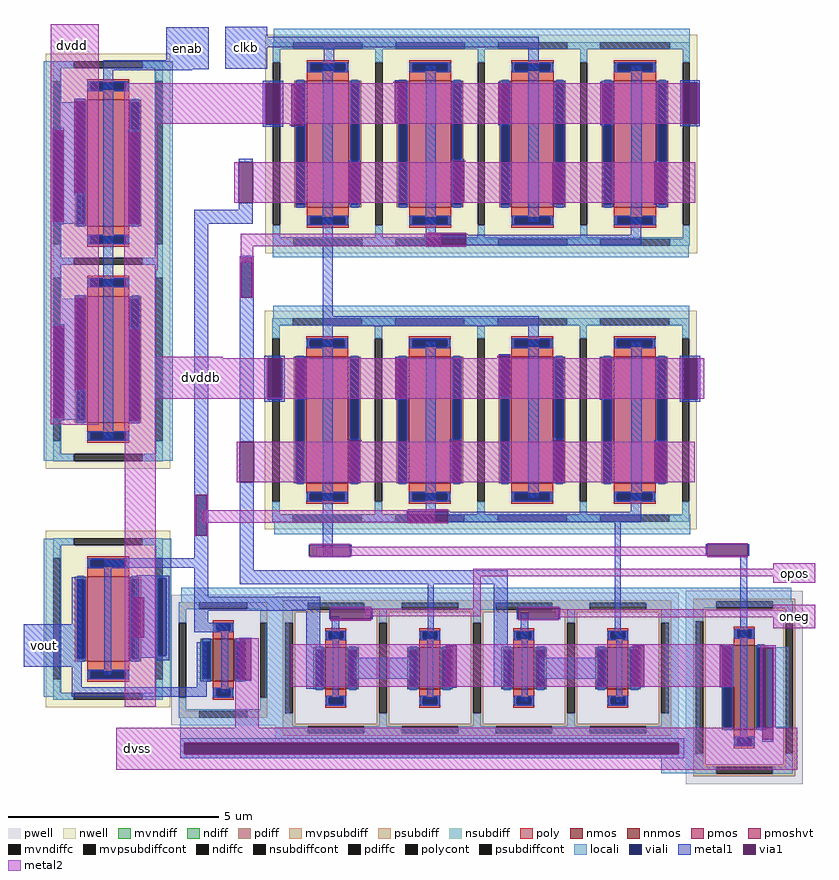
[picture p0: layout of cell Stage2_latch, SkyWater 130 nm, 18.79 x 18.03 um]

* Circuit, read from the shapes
.subckt Stage2_latch dvdd enab dvddb clkb vout oneg opos dvss
XM1 dvss n1 vout dvss sky130_fd_pr__nfet_01v8 w=1 l=0.5
XM2 n2 opos n1 dvss sky130_fd_pr__nfet_03v3_nvt w=1 l=0.5
XM3 n3 n4 n2 dvss sky130_fd_pr__nfet_03v3_nvt w=1 l=0.5
XM4 n5 oneg n4 dvss sky130_fd_pr__nfet_03v3_nvt w=1 l=0.5
XM5 n3 n1 n5 dvss sky130_fd_pr__nfet_03v3_nvt w=1 l=0.5
XM6 dvss clkb n3 dvss sky130_fd_pr__nfet_03v3_nvt w=2 l=0.5
XM7 dvddb n1 vout dvddb sky130_fd_pr__pfet_01v8 w=2 l=1
XM8 dvddb enab dvdd dvdd sky130_fd_pr__pfet_01v8_hvt w=3 l=1 m=2
XM9 n4 clkb dvddb dvddb sky130_fd_pr__pfet_01v8_hvt w=3 l=1 m=2
XM10 n1 clkb dvddb dvddb sky130_fd_pr__pfet_01v8_hvt w=3 l=1 m=2
XM11 n4 n1 dvddb dvddb sky130_fd_pr__pfet_01v8_hvt w=3 l=1 m=2
XM12 n1 n4 dvddb dvddb sky130_fd_pr__pfet_01v8_hvt w=3 l=1 m=2
.ends

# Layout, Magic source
magic
tech sky130A
magscale 1 2
<< locali >>
rect 1487 621 3461 716
rect 395 367 479 563
rect 395 226 575 367
rect 395 -189 444 226
rect 483 -189 575 226
rect 395 -208 575 -189
rect 395 -564 479 -208
rect 395 -705 571 -564
rect 395 -1120 448 -705
rect 487 -1120 571 -705
rect 395 -1139 571 -1120
rect 395 -1334 479 -1139
rect 923 -1334 1007 563
rect 1483 -368 3457 -273
rect 1485 -693 3459 -598
rect 1489 -1683 3463 -1588
rect 395 -2454 479 -1704
rect 923 -1890 1001 -1704
rect 830 -2271 847 -1897
rect 923 -2258 940 -1890
rect 978 -2258 1001 -1890
rect 1048 -2024 3943 -1935
rect 923 -2454 1001 -2258
rect 1449 -2512 1558 -2024
rect 1044 -2602 1561 -2512
rect 3348 -2602 3506 -2024
rect 3796 -2598 3931 -2218
rect 1044 -2616 3506 -2602
rect 1044 -2676 3504 -2616
rect 1044 -2727 1063 -2676
rect 3409 -2727 3504 -2676
rect 1044 -2746 3504 -2727
rect 3326 -2816 3504 -2746
<< viali >>
rect 444 -189 483 226
rect 448 -1120 487 -705
rect 1446 264 1518 459
rect 3426 265 3498 460
rect 1455 -1041 1527 -846
rect 3426 -1041 3498 -846
rect 940 -2258 978 -1890
rect 1063 -2727 3409 -2676
<< metal1 >>
rect 978 568 1178 724
rect 677 524 1178 568
rect 1257 678 1457 727
rect 1257 629 2744 678
rect 1257 527 1457 629
rect 1724 542 1773 629
rect 677 519 1101 524
rect 438 226 490 236
rect 438 -189 444 226
rect 483 -189 490 226
rect 438 -199 490 -189
rect 441 -705 493 -696
rect 441 -1120 448 -705
rect 487 -1120 493 -705
rect 441 -1131 493 -1120
rect 677 -1228 726 519
rect 1719 518 1773 542
rect 1434 459 1531 469
rect 1434 264 1446 459
rect 1518 264 1531 459
rect 1434 251 1531 264
rect 1320 83 1387 99
rect 1320 -142 1387 -110
rect 1110 -209 1387 -142
rect 1110 -1796 1177 -209
rect 683 -1842 1177 -1796
rect 529 -2110 576 -1886
rect 300 -2310 576 -2110
rect 529 -2407 576 -2310
rect 683 -2348 717 -1842
rect 838 -1878 918 -1877
rect 838 -1890 991 -1878
rect 838 -2258 940 -1890
rect 978 -2258 991 -1890
rect 1110 -1979 1177 -1842
rect 1326 -1242 1393 -363
rect 1719 -647 1768 518
rect 2207 -261 2256 542
rect 2695 -200 2744 629
rect 3183 -131 3232 542
rect 3415 460 3509 472
rect 3415 265 3426 460
rect 3498 265 3509 460
rect 3415 253 3509 265
rect 3181 -200 3232 -131
rect 3181 -261 3230 -200
rect 2207 -310 3230 -261
rect 1719 -696 2744 -647
rect 1443 -846 1540 -836
rect 1443 -1041 1455 -846
rect 1527 -1041 1540 -846
rect 1443 -1054 1540 -1041
rect 1326 -1853 1393 -1435
rect 1719 -1790 1768 -696
rect 2207 -1576 2256 -768
rect 2695 -1510 2744 -696
rect 3183 -1484 3232 -768
rect 3414 -846 3511 -836
rect 3414 -1041 3426 -846
rect 3498 -1041 3511 -846
rect 3414 -1054 3511 -1041
rect 3181 -1510 3232 -1484
rect 3181 -1576 3230 -1510
rect 2117 -1624 3230 -1576
rect 2117 -1625 2641 -1624
rect 2714 -1625 3230 -1624
rect 1326 -1920 2597 -1853
rect 1110 -2046 1707 -1979
rect 1110 -2101 1177 -2046
rect 1110 -2148 1271 -2101
rect 838 -2269 991 -2258
rect 931 -2280 991 -2269
rect 1121 -2407 1168 -2194
rect 529 -2454 1168 -2407
rect 1237 -2431 1271 -2148
rect 1640 -2414 1707 -2046
rect 1763 -2154 1797 -2071
rect 2217 -2146 2247 -1920
rect 1767 -2158 1796 -2154
rect 1767 -2161 1802 -2158
rect 2215 -2159 2247 -2146
rect 1767 -2457 1796 -2161
rect 1866 -2368 2149 -2267
rect 2215 -2457 2244 -2159
rect 2530 -2406 2597 -1920
rect 2659 -2180 2695 -2055
rect 3105 -2146 3134 -1625
rect 3105 -2159 3140 -2146
rect 2667 -2185 2695 -2180
rect 2207 -2463 2244 -2457
rect 2663 -2464 2692 -2185
rect 2747 -2368 3030 -2267
rect 2660 -2474 2693 -2464
rect 3111 -2478 3140 -2159
rect 1044 -2672 3434 -2650
rect 3700 -2671 3734 -1781
rect 1044 -2727 1063 -2672
rect 3409 -2727 3434 -2672
rect 1044 -2746 3434 -2727
<< via1 >>
rect 1449 266 1517 458
rect 1320 -110 1387 83
rect 3428 265 3496 457
rect 1458 -1035 1526 -847
rect 1326 -1435 1393 -1242
rect 3429 -1039 3497 -847
rect 1063 -2676 3409 -2672
rect 1063 -2727 3409 -2676
<< metal2 >>
rect 428 -1161 657 739
rect 489 -1162 657 -1161
rect 778 266 1449 458
rect 1517 457 3490 458
rect 1517 266 3428 457
rect 778 265 3428 266
rect 3496 265 3504 457
rect 778 -430 937 265
rect 1300 -110 1320 83
rect 1387 -110 3488 83
rect 1331 -315 2282 -256
rect 1331 -391 1390 -315
rect 778 -839 928 -430
rect 778 -847 1244 -839
rect 778 -1035 1458 -847
rect 1526 -1035 3429 -847
rect 778 -1039 3429 -1035
rect 3497 -1039 3529 -847
rect 778 -1040 3529 -1039
rect 778 -1179 928 -1040
rect 780 -2500 928 -1179
rect 1312 -1435 1326 -1242
rect 1393 -1435 3485 -1242
rect 1149 -1628 2252 -1569
rect 1686 -1785 3548 -1742
rect 3857 -1846 4057 -1819
rect 2433 -1881 4057 -1846
rect 2433 -2036 2468 -1881
rect 3857 -1913 4057 -1881
rect 1919 -2071 2468 -2036
rect 2822 -2039 3578 -2038
rect 3857 -2039 4057 -2016
rect 2822 -2075 4057 -2039
rect 3541 -2076 4057 -2075
rect 3857 -2128 4057 -2076
rect 1305 -2600 1415 -2176
rect 1568 -2406 3671 -2203
rect 740 -2672 3970 -2600
rect 740 -2727 1063 -2672
rect 3409 -2727 3970 -2672
rect 740 -2800 3970 -2727
use pa_via  pa_via_0
transform 1 0 799 0 1 -4742
box -10 3586 63 4043
use pa_via  pa_via_1
transform 1 0 441 0 1 -4728
box -10 3586 63 4043
use pa_via  pa_via_2
transform 1 0 542 0 1 -4592
box -10 3586 63 4043
use pa_via  pa_via_3
transform 1 0 797 0 1 -3806
box -10 3586 63 4043
use pa_via  pa_via_4
transform 1 0 3805 0 1 -6252
box -10 3586 63 4043
use pa_via  pa_via_5
transform 1 0 540 0 1 -3659
box -10 3586 63 4043
use pa_via  pa_via_6
transform 1 0 438 0 1 -3796
box -10 3586 63 4043
use pa_via_short  pa_via_short_0
transform 1 0 -3624 0 1 -489
box 4944 -1889 5010 -1683
use pa_via_short  pa_via_short_1
transform 1 0 -4131 0 1 -291
box 4944 -1889 5010 -1683
use pa_via_short  pa_via_short_2
transform 1 0 -3106 0 1 1773
box 4944 -1889 5010 -1683
use pa_via_short  pa_via_short_3
transform 1 0 -3381 0 1 2140
box 4944 -1889 5010 -1683
use pa_via_short  pa_via_short_4
transform 1 0 -2890 0 1 2154
box 4944 -1889 5010 -1683
use pa_via_short  pa_via_short_5
transform 1 0 -2399 0 1 2148
box 4944 -1889 5010 -1683
use pa_via_short  pa_via_short_6
transform 1 0 -1914 0 1 2148
box 4944 -1889 5010 -1683
use pa_via_short  pa_via_short_7
transform 1 0 -2612 0 1 1781
box 4944 -1889 5010 -1683
use pa_via_short  pa_via_short_8
transform 1 0 -2142 0 1 1767
box 4944 -1889 5010 -1683
use pa_via_short  pa_via_short_9
transform 1 0 -2887 0 1 844
box 4944 -1889 5010 -1683
use pa_via_short  pa_via_short_10
transform 1 0 -1657 0 1 1770
box 4944 -1889 5010 -1683
use pa_via_short  pa_via_short_11
transform 1 0 -1657 0 1 448
box 4944 -1889 5010 -1683
use pa_via_short  pa_via_short_12
transform 1 0 -2139 0 1 454
box 4944 -1889 5010 -1683
use pa_via_short  pa_via_short_13
transform 1 0 -2627 0 1 451
box 4944 -1889 5010 -1683
use pa_via_short  pa_via_short_14
transform 1 0 -3106 0 1 454
box 4944 -1889 5010 -1683
use pa_via_short  pa_via_short_15
transform 1 0 -3360 0 1 846
box 4944 -1889 5010 -1683
use pa_via_short  pa_via_short_16
transform 1 0 -2396 0 1 855
box 4944 -1889 5010 -1683
use pa_via_short  pa_via_short_17
transform 1 0 -1916 0 1 844
box 4944 -1889 5010 -1683
use pa_via_short  pa_via_short_18
transform 1 0 -2648 0 1 -522
box 4944 -1889 5010 -1683
use pa_via_short  pa_via_short_19
transform 1 0 -1348 0 1 -520
box 4944 -1889 5010 -1683
use pa_via_short  pa_via_short_20
transform 1 0 -1759 0 1 -520
box 4944 -1889 5010 -1683
use pa_via_short  pa_via_short_22
transform 1 0 -3834 0 1 195
box 4944 -1889 5010 -1683
use pa_via_short  pa_via_short_24
transform 1 0 -3618 0 1 1322
box 4944 -1889 5010 -1683
use pa_via_short  pa_via_short_25
transform 0 1 4006 -1 0 3380
box 4944 -1889 5010 -1683
use pa_via_short  pa_via_short_26
transform 0 1 4091 -1 0 4693
box 4944 -1889 5010 -1683
use pa_via_short  pa_via_short_28
transform 0 1 3541 -1 0 3218
box 4944 -1889 5010 -1683
use pa_via_short  pa_via_short_29
transform 0 1 3639 -1 0 2918
box 4944 -1889 5010 -1683
use pa_via_short  pa_via_short_30
transform 0 1 4529 -1 0 2919
box 4944 -1889 5010 -1683
use pa_via_short  pa_via_short_32
transform 0 1 5426 -1 0 3220
box 4944 -1889 5010 -1683
use sky130_fd_pr__pfet_01v8_hvt_3HBZVM  sky130_fd_pr__pfet_01v8_hvt_3HBZVM_0 paramcells
transform 1 0 1741 0 1 -1140
box -296 -519 296 519
use sky130_fd_pr__pfet_01v8_hvt_3HBZVM  sky130_fd_pr__pfet_01v8_hvt_3HBZVM_1
transform 1 0 2227 0 1 -1140
box -296 -519 296 519
use sky130_fd_pr__pfet_01v8_hvt_3HBZVM  sky130_fd_pr__pfet_01v8_hvt_3HBZVM_2
transform 1 0 2713 0 1 -1140
box -296 -519 296 519
use sky130_fd_pr__pfet_01v8_hvt_3HBZVM  sky130_fd_pr__pfet_01v8_hvt_3HBZVM_3
transform 1 0 3199 0 1 -1140
box -296 -519 296 519
use sky130_fd_pr__pfet_01v8_hvt_3HBZVM  sky130_fd_pr__pfet_01v8_hvt_3HBZVM_4
transform 1 0 701 0 1 80
box -296 -519 296 519
use sky130_fd_pr__pfet_01v8_hvt_3HBZVM  sky130_fd_pr__pfet_01v8_hvt_3HBZVM_5
transform 1 0 701 0 1 -852
box -296 -519 296 519
use sky130_fd_pr__pfet_01v8_hvt_3HBZVM  XM1
transform 1 0 3201 0 1 170
box -296 -519 296 519
use sky130_fd_pr__nfet_03v3_nvt_UNEQ2N  XM2 paramcells
transform 1 0 1782 0 1 -2317
box -288 -358 288 358
use sky130_fd_pr__nfet_03v3_nvt_UNEQ2N  XM3
transform 1 0 2228 0 1 -2317
box -288 -358 288 358
use sky130_fd_pr__nfet_03v3_nvt_UNEQ2N  XM4
transform 1 0 2674 0 1 -2317
box -288 -358 288 358
use sky130_fd_pr__nfet_03v3_nvt_UNEQ2N  XM5
transform 1 0 3120 0 1 -2317
box -288 -358 288 358
use sky130_fd_pr__pfet_01v8_hvt_3HBZVM  XM10
transform 1 0 1743 0 1 170
box -296 -519 296 519
use sky130_fd_pr__pfet_01v8_hvt_3HBZVM  XM11
transform 1 0 2229 0 1 170
box -296 -519 296 519
use sky130_fd_pr__pfet_01v8_hvt_3HBZVM  XM12
transform 1 0 2715 0 1 170
box -296 -519 296 519
use sky130_fd_pr__nfet_03v3_nvt_WSEQJ8  XM15 paramcells
transform 1 0 3720 0 1 -2409
box -278 -458 278 458
use sky130_fd_pr__nfet_01v8_PVEW3M  XM18 paramcells
transform 1 0 1247 0 1 -2279
box -246 -310 246 310
use sky130_fd_pr__pfet_01v8_3HY9VM  XM19 paramcells
transform 1 0 701 0 1 -2084
box -296 -419 296 419
<< labels >>
flabel metal2 740 -2800 940 -2600 0 FreeSans 256 0 0 0 dvss
port 7 nsew
flabel metal2 1044 -1039 1244 -839 0 FreeSans 256 0 0 0 dvddb
port 2 nsew
flabel metal1 1257 527 1457 727 0 FreeSans 256 0 0 0 clkb
port 3 nsew
flabel metal2 431 539 631 739 0 FreeSans 256 0 0 0 dvdd
port 0 nsew
flabel metal1 300 -2310 500 -2110 0 FreeSans 256 0 0 0 vout
port 4 nsew
flabel metal1 978 524 1178 724 0 FreeSans 256 0 0 0 enab
port 1 nsew
flabel metal2 3857 -1913 4057 -1819 0 FreeSans 256 0 0 0 opos
port 6 nsew
flabel metal2 3857 -2128 4057 -2016 0 FreeSans 256 0 0 0 oneg
port 5 nsew
<< end >>

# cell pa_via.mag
magic
tech sky130A
magscale 1 2
<< metal1 >>
rect 0 4032 52 4043
rect 0 3586 52 3597
<< via1 >>
rect 0 3597 52 4032
<< metal2 >>
rect -10 4032 63 4043
rect -10 3597 0 4032
rect 52 3597 63 4032
rect -10 3586 63 3597
<< end >>

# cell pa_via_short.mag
magic
tech sky130A
magscale 1 2
<< metal1 >>
rect 4950 -1690 5004 -1683
rect 4950 -1889 5004 -1883
<< via1 >>
rect 4950 -1883 5004 -1690
<< metal2 >>
rect 4944 -1883 4950 -1690
rect 5004 -1883 5010 -1690
<< end >>

# cell sky130_fd_pr__pfet_01v8_hvt_3HBZVM: kit device sky130_fd_pr__pfet_01v8_hvt, w 3.0 l 1.0 m 1 nf 1 diffcov 100 polycov 100 guard 1 glc 1 grc 1 gtc 1 gbc 1 tbcov 100 rlcov 100 topc 1 botc 1 poverlap 0 doverlap 1 lmin 0.15 wmin 0.42 compatible {sky130_fd_pr__pfet_01v8 sky130_fd_pr__pfet_01v8_lvt sky130_fd_pr__pfet_01v8_hvt sky130_fd_pr__pfet_g5v0d10v5} full_metal 1 viasrc 100 viadrn 100 viagate 100 viagb 0 viagr 0 viagl 0 viagt 0

# cell sky130_fd_pr__nfet_03v3_nvt_UNEQ2N: kit device sky130_fd_pr__nfet_03v3_nvt, w 1.0 l 0.5 m 1 nf 1 diffcov 100 polycov 100 guard 1 glc 1 grc 1 gtc 1 gbc 1 tbcov 100 rlcov 100 topc 1 botc 1 poverlap 0 doverlap 1 lmin 0.50 wmin 0.42 compatible {sky130_fd_pr__nfet_01v8 sky130_fd_pr__nfet_01v8_lvt sky130_fd_bs_flash__special_sonosfet_star sky130_fd_pr__nfet_g5v0d10v5 sky130_fd_pr__nfet_05v0_nvt sky130_fd_pr__nfet_03v3_nvt} full_metal 1 viasrc 100 viadrn 100 viagate 100 viagb 0 viagr 0 viagl 0 viagt 0

# cell sky130_fd_pr__nfet_03v3_nvt_WSEQJ8: kit device sky130_fd_pr__nfet_03v3_nvt, w 2.0 l 0.5 m 1 nf 1 diffcov 100 polycov 100 guard 1 glc 1 grc 1 gtc 1 gbc 1 tbcov 100 rlcov 100 topc 1 botc 1 poverlap 0 doverlap 1 lmin 0.50 wmin 0.42 compatible {sky130_fd_pr__nfet_01v8 sky130_fd_pr__nfet_01v8_lvt sky130_fd_bs_flash__special_sonosfet_star sky130_fd_pr__nfet_g5v0d10v5 sky130_fd_pr__nfet_05v0_nvt sky130_fd_pr__nfet_03v3_nvt} full_metal 1 viasrc 100 viadrn 100 viagate 100 viagb 0 viagr 0 viagl 0 viagt 0

# cell sky130_fd_pr__nfet_01v8_PVEW3M: kit device sky130_fd_pr__nfet_01v8, w 1.0 l 0.5 m 1 nf 1 diffcov 100 polycov 100 guard 1 glc 1 grc 1 gtc 1 gbc 1 tbcov 100 rlcov 100 topc 1 botc 1 poverlap 0 doverlap 1 lmin 0.15 wmin 0.42 compatible {sky130_fd_pr__nfet_01v8 sky130_fd_pr__nfet_01v8_lvt sky130_fd_bs_flash__special_sonosfet_star sky130_fd_pr__nfet_g5v0d10v5 sky130_fd_pr__nfet_05v0_nvt sky130_fd_pr__nfet_03v3_nvt} full_metal 1 viasrc 100 viadrn 100 viagate 100 viagb 0 viagr 0 viagl 0 viagt 0

# cell sky130_fd_pr__pfet_01v8_3HY9VM: kit device sky130_fd_pr__pfet_01v8, w 2.0 l 1.0 m 1 nf 1 diffcov 100 polycov 100 guard 1 glc 1 grc 1 gtc 1 gbc 1 tbcov 100 rlcov 100 topc 1 botc 1 poverlap 0 doverlap 1 lmin 0.15 wmin 0.42 compatible {sky130_fd_pr__pfet_01v8 sky130_fd_pr__pfet_01v8_lvt sky130_fd_pr__pfet_01v8_hvt sky130_fd_pr__pfet_g5v0d10v5} full_metal 1 viasrc 100 viadrn 100 viagate 100 viagb 0 viagr 0 viagl 0 viagt 0
